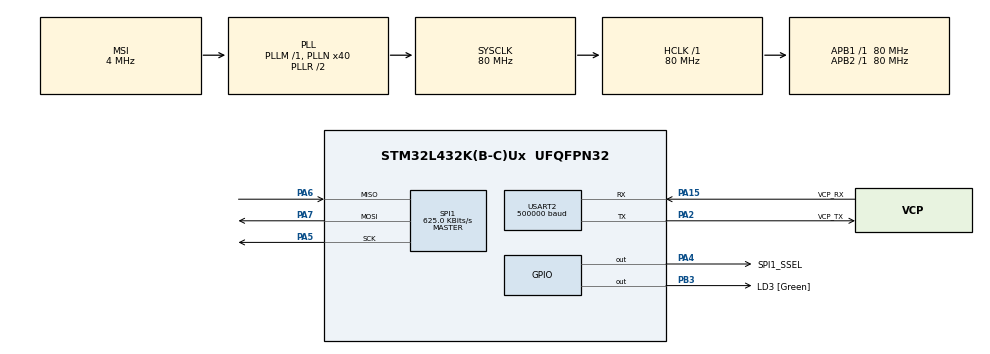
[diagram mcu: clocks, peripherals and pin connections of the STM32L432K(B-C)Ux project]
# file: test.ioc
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Dma.Request0=USART2_TX
Dma.USART2_TX.0.Direction=DMA_MEMORY_TO_PERIPH
Dma.USART2_TX.0.Instance=DMA1_Channel7
Dma.USART2_TX.0.MemDataAlignment=DMA_MDATAALIGN_BYTE
Dma.USART2_TX.0.MemInc=DMA_MINC_ENABLE
Dma.USART2_TX.0.Mode=DMA_NORMAL
Dma.USART2_TX.0.PeriphDataAlignment=DMA_PDATAALIGN_BYTE
Dma.USART2_TX.0.PeriphInc=DMA_PINC_DISABLE
Dma.USART2_TX.0.Priority=DMA_PRIORITY_LOW
Mcu.Family=STM32L4
Mcu.Name=STM32L432K(B-C)Ux
Mcu.Package=UFQFPN32
NVIC.DMA1_Channel7_IRQn=true\:0\:0\:false\:false\:true\:false\:true\:true
NVIC.PriorityGroup=NVIC_PRIORITYGROUP_4
NVIC.TIM2_IRQn=true\:0\:0\:false\:false\:true\:true\:true\:true
NVIC.TIM6_DAC_IRQn=true\:0\:0\:false\:false\:true\:true\:true\:true
NVIC.TIM7_IRQn=true\:0\:0\:false\:false\:true\:true\:true\:true
NVIC.USART2_IRQn=true\:0\:0\:false\:false\:true\:true\:true\:true
PA0.GPIO_Label=MCO [High speed clock in]
PA0.Mode=HSE-External-Clock-Source-for-LittleOrca
PA0.Signal=RCC_CK_IN
PA13\ (JTMS-SWDIO).GPIO_Label=SWDIO
PA13\ (JTMS-SWDIO).Mode=Serial_Wire
PA13\ (JTMS-SWDIO).Signal=SYS_JTMS-SWDIO
PA14\ (JTCK-SWCLK).GPIO_Label=SWCLK
PA14\ (JTCK-SWCLK).Mode=Serial_Wire
PA14\ (JTCK-SWCLK).Signal=SYS_JTCK-SWCLK
PA15\ (JTDI).GPIO_Label=VCP_RX
PA15\ (JTDI).Mode=Asynchronous
PA15\ (JTDI).Signal=USART2_RX
PA2.GPIO_Label=VCP_TX
PA2.Mode=Asynchronous
PA2.Signal=USART2_TX
PA4.GPIO_Label=SPI1_SSEL
PA4.Signal=GPIO_Output
PA5.Mode=Full_Duplex_Master
PA5.Signal=SPI1_SCK
PA6.Mode=Full_Duplex_Master
PA6.Signal=SPI1_MISO
PA7.Mode=Full_Duplex_Master
PA7.Signal=SPI1_MOSI
PB3\ (JTDO-TRACESWO).GPIO_Label=LD3 [Green]
PB3\ (JTDO-TRACESWO).Signal=GPIO_Output
PC14-OSC32_IN\ (PC14).Mode=LSE-External-Oscillator
PC14-OSC32_IN\ (PC14).Signal=RCC_OSC32_IN
PC15-OSC32_OUT\ (PC15).Mode=LSE-External-Oscillator
PC15-OSC32_OUT\ (PC15).Signal=RCC_OSC32_OUT
ProjectManager.HeapSize=0x200
ProjectManager.StackSize=0x400
ProjectManager.TargetToolchain=STM32CubeIDE
RCC.AHBFreq_Value=80000000
RCC.APB1Freq_Value=80000000
RCC.APB1TimFreq_Value=80000000
RCC.APB2Freq_Value=80000000
RCC.APB2TimFreq_Value=80000000
RCC.CortexFreq_Value=80000000
RCC.HCLKFreq_Value=80000000
RCC.HSE_VALUE=8000000
RCC.HSI16_VALUE=16000000
RCC.HSI48_VALUE=48000000
RCC.HSI_VALUE=16000000
RCC.MSI_VALUE=4000000
RCC.PLLMUL=RCC_PLLMUL_4
RCC.PLLN=40
RCC.SYSCLKFreq_VALUE=80000000
RCC.SYSCLKSource=RCC_SYSCLKSOURCE_PLLCLK
RCC.VCOOutputFreq_Value=160000000
SPI1.BaudRatePrescaler=SPI_BAUDRATEPRESCALER_128
SPI1.CalculateBaudRate=625.0 KBits/s
SPI1.DataSize=SPI_DATASIZE_8BIT
SPI1.Direction=SPI_DIRECTION_2LINES
SPI1.Mode=SPI_MODE_MASTER
SPI1.VirtualType=VM_MASTER
TIM2.Period=1
TIM2.Prescaler=39999
TIM6.Period=1
TIM6.Prescaler=39999
TIM7.Period=19
TIM7.Prescaler=49999
USART2.BaudRate=500000
USART2.VirtualMode-Asynchronous=VM_ASYNC
VP_TIM2_VS_ClockSourceINT.Mode=Internal
VP_TIM6_VS_ClockSourceINT.Mode=Enable_Timer
VP_TIM7_VS_ClockSourceINT.Mode=Enable_Timer
board=NUCLEO-L432KC

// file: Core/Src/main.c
/* USER CODE BEGIN Header */
/**
  ******************************************************************************
  * @file           : main.c
  * @brief          : Main program body
  ******************************************************************************
  * @attention
  *
  * Copyright (c) 2023 STMicroelectronics.
  * All rights reserved.
  *
  * This software is licensed under terms that can be found in the LICENSE file
  * in the root directory of this software component.
  * If no LICENSE file comes with this software, it is provided AS-IS.
  *
  ******************************************************************************
  */
/* USER CODE END Header */
#include "main.h"
#include "dma.h"
#include "spi.h"
#include "tim.h"
#include "usart.h"
#include "gpio.h"

/* USER CODE BEGIN Includes */
#include <string.h>
#include <iso646.h>
#include <stdbool.h>

#include "mpu9250.h"
/* USER CODE END Includes */

/* USER CODE BEGIN PV */
bool read_gyro_time = false;
bool read_acc_time = false;
bool read_mag_time = false;

bool uart_busy = false;
/* USER CODE END PV */

void SystemClock_Config(void);
/* USER CODE BEGIN PFP */
void HAL_TIM_PeriodElapsedCallback(TIM_HandleTypeDef* htim);
void HAL_UART_TxCpltCallback([[maybe_unused]] UART_HandleTypeDef* huart) {
  uart_busy = false;
}
/* USER CODE END PFP */

int main(void)
{

  /* MCU Configuration--------------------------------------------------------*/

  /* Reset of all peripherals, Initializes the Flash interface and the Systick. */
  HAL_Init();

  /* Configure the system clock */
  SystemClock_Config();

  /* Initialize all configured peripherals */
  MX_GPIO_Init();
  MX_DMA_Init();
  MX_USART2_UART_Init();
  MX_SPI1_Init();
  MX_TIM2_Init();
  MX_TIM6_Init();
  MX_TIM7_Init();
  /* USER CODE BEGIN 2 */
//  u8 buff[10];
//  memset(buff, '$', 10);
//  HAL_UART_Transmit(&huart2, buff, 10, HAL_MAX_DELAY);
  float mag_adjustment[3];
  mpu9250_init(mag_adjustment);
  /* USER CODE END 2 */

  /* Infinite loop */
  /* USER CODE BEGIN WHILE */

  HAL_TIM_Base_Start_IT(&htim2);
  HAL_TIM_Base_Start_IT(&htim6);
  HAL_TIM_Base_Start_IT(&htim7);
  HAL_Delay(100);
  while (1)
  {
    if (read_gyro_time) {
      u8 message_buffer[1 + 4 * 3 + 1];
      message_buffer[0] = '$';
      message_buffer[13] = '\n';

      i16 gyro[3];
      read_gyro(gyro);
      float gyro_f[3];
      for (int i = 0; i < 3; i++) {
        gyro_f[i] = gyro[i] / 131.0f;
      }

      memcpy(message_buffer + 1, gyro_f, 4 * 3);

      while (uart_busy) ;
      HAL_UART_Transmit_DMA(&huart2, message_buffer, sizeof(message_buffer));
    }
    if (read_acc_time) {
      u8 message_buffer[2 + 4 * 3 + 1];
      message_buffer[0] = '#';
      message_buffer[13] = '\n';

      i16 acc[3];
      read_acc(acc);
      float acc_f[3];
      for (int i = 0; i < 3; i++) {
        acc_f[i] = acc[i] / 16384.0f;
      }
      memcpy(message_buffer + 1, acc_f, 4 * 3);
      while(uart_busy) ;
      HAL_UART_Transmit_DMA(&huart2, message_buffer, sizeof(message_buffer));

    }
//    if (read_mag_time) {
//      u8 message_buffer[1 + 4 * 3 + 1];
//      message_buffer[0] = 3;
//      message_buffer[13] = '\n';
//      i16 mag_raw[3];
//      if (read_mag(mag_raw)) {
//    	  float mag[3];
//      	  for (int i = 0; i < 3; i++) {
//    	  	  mag_raw[i] = mag[i] * mag_adjustment[i];
//      	  }
//      	  memcpy(message_buffer + 1, mag, 4 * 3);
//      	  while(uart_busy) ;
//      	  HAL_UART_Transmit_DMA(&huart2, message_buffer, sizeof(message_buffer));
//      }
//    }
    /* USER CODE END WHILE */

  }
}

void SystemClock_Config(void)
{
  RCC_OscInitTypeDef RCC_OscInitStruct = {0};
  RCC_ClkInitTypeDef RCC_ClkInitStruct = {0};

  /** Configure the main internal regulator output voltage
  */
  if (HAL_PWREx_ControlVoltageScaling(PWR_REGULATOR_VOLTAGE_SCALE1) != HAL_OK)
  {
    Error_Handler();
  }

  /** Configure LSE Drive Capability
  */
  HAL_PWR_EnableBkUpAccess();
  __HAL_RCC_LSEDRIVE_CONFIG(RCC_LSEDRIVE_LOW);

  /** Initializes the RCC Oscillators according to the specified parameters
  * in the RCC_OscInitTypeDef structure.
  */
  RCC_OscInitStruct.OscillatorType = RCC_OSCILLATORTYPE_LSE|RCC_OSCILLATORTYPE_MSI;
  RCC_OscInitStruct.LSEState = RCC_LSE_ON;
  RCC_OscInitStruct.MSIState = RCC_MSI_ON;
  RCC_OscInitStruct.MSICalibrationValue = 0;
  RCC_OscInitStruct.MSIClockRange = RCC_MSIRANGE_6;
  RCC_OscInitStruct.PLL.PLLState = RCC_PLL_ON;
  RCC_OscInitStruct.PLL.PLLSource = RCC_PLLSOURCE_MSI;
  RCC_OscInitStruct.PLL.PLLM = 1;
  RCC_OscInitStruct.PLL.PLLN = 40;
  RCC_OscInitStruct.PLL.PLLP = RCC_PLLP_DIV7;
  RCC_OscInitStruct.PLL.PLLQ = RCC_PLLQ_DIV2;
  RCC_OscInitStruct.PLL.PLLR = RCC_PLLR_DIV2;
  if (HAL_RCC_OscConfig(&RCC_OscInitStruct) != HAL_OK)
  {
    Error_Handler();
  }

  /** Initializes the CPU, AHB and APB buses clocks
  */
  RCC_ClkInitStruct.ClockType = RCC_CLOCKTYPE_HCLK|RCC_CLOCKTYPE_SYSCLK
                              |RCC_CLOCKTYPE_PCLK1|RCC_CLOCKTYPE_PCLK2;
  RCC_ClkInitStruct.SYSCLKSource = RCC_SYSCLKSOURCE_PLLCLK;
  RCC_ClkInitStruct.AHBCLKDivider = RCC_SYSCLK_DIV1;
  RCC_ClkInitStruct.APB1CLKDivider = RCC_HCLK_DIV1;
  RCC_ClkInitStruct.APB2CLKDivider = RCC_HCLK_DIV1;

  if (HAL_RCC_ClockConfig(&RCC_ClkInitStruct, FLASH_LATENCY_4) != HAL_OK)
  {
    Error_Handler();
  }

  /** Enable MSI Auto calibration
  */
  HAL_RCCEx_EnableMSIPLLMode();
}

/* USER CODE BEGIN 4 */
void HAL_TIM_PeriodElapsedCallback(TIM_HandleTypeDef* htim) {
	if (htim == &htim2) {
		read_gyro_time = true;
	} else if (htim == &htim6) {
		read_acc_time = true;
	} else if (htim == &htim7) {
		read_mag_time = true;
	}
}
/* USER CODE END 4 */

void Error_Handler(void)
{
  __disable_irq();
  while (1)
  {
  }
}
